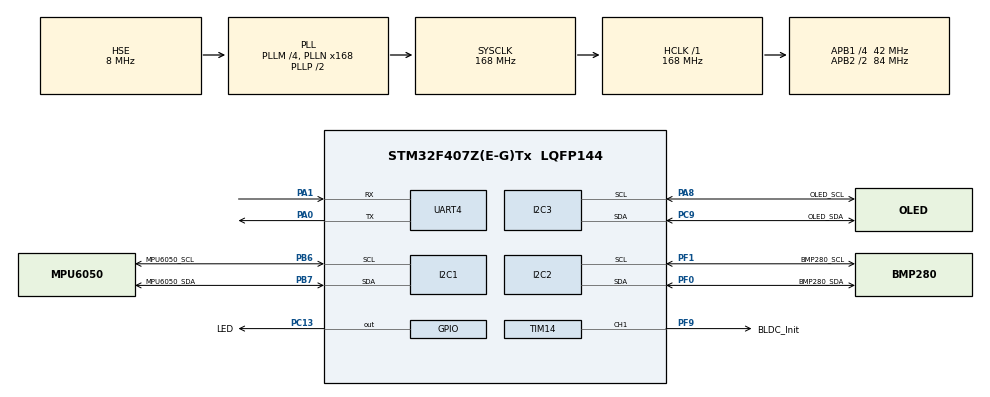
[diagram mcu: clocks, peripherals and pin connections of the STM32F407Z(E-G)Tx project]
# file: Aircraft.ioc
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I2C1.I2C_Mode=I2C_Fast
I2C2.I2C_Mode=I2C_Fast
I2C3.DutyCycle=I2C_DUTYCYCLE_2
I2C3.I2C_Mode=I2C_Fast
Mcu.Family=STM32F4
Mcu.Name=STM32F407Z(E-G)Tx
Mcu.Package=LQFP144
NVIC.PriorityGroup=NVIC_PRIORITYGROUP_4
PA0-WKUP.Mode=Asynchronous
PA0-WKUP.Signal=UART4_TX
PA1.Mode=Asynchronous
PA1.Signal=UART4_RX
PA13.Mode=Serial_Wire
PA13.Signal=SYS_JTMS-SWDIO
PA14.Mode=Serial_Wire
PA14.Signal=SYS_JTCK-SWCLK
PA8.GPIO_Label=OLED_SCL
PA8.Mode=I2C
PA8.Signal=I2C3_SCL
PB6.GPIO_Label=MPU6050_SCL
PB6.Mode=I2C
PB6.Signal=I2C1_SCL
PB7.GPIO_Label=MPU6050_SDA
PB7.Mode=I2C
PB7.Signal=I2C1_SDA
PC13-ANTI_TAMP.GPIO_Label=LED
PC13-ANTI_TAMP.PinState=GPIO_PIN_SET
PC13-ANTI_TAMP.Signal=GPIO_Output
PC14-OSC32_IN.Mode=LSE-External-Oscillator
PC14-OSC32_IN.Signal=RCC_OSC32_IN
PC15-OSC32_OUT.Mode=LSE-External-Oscillator
PC15-OSC32_OUT.Signal=RCC_OSC32_OUT
PC9.GPIO_Label=OLED_SDA
PC9.Mode=I2C
PC9.Signal=I2C3_SDA
PF0.GPIO_Label=BMP280_SDA
PF0.GPIO_Speed=GPIO_SPEED_FREQ_VERY_HIGH
PF0.Mode=I2C
PF0.Signal=I2C2_SDA
PF1.GPIO_Label=BMP280_SCL
PF1.GPIO_Speed=GPIO_SPEED_FREQ_VERY_HIGH
PF1.Mode=I2C
PF1.Signal=I2C2_SCL
PF9.GPIO_Label=BLDC_Init
PF9.GPIO_Speed=GPIO_SPEED_FREQ_LOW
PF9.Signal=S_TIM14_CH1
PH0-OSC_IN.Mode=HSE-External-Oscillator
PH0-OSC_IN.Signal=RCC_OSC_IN
PH1-OSC_OUT.Mode=HSE-External-Oscillator
PH1-OSC_OUT.Signal=RCC_OSC_OUT
ProjectManager.HeapSize=0x200
ProjectManager.StackSize=0x400
ProjectManager.TargetToolchain=MDK-ARM V5.32
RCC.48MHZClocksFreq_Value=84000000
RCC.AHBFreq_Value=168000000
RCC.APB1CLKDivider=RCC_HCLK_DIV4
RCC.APB1Freq_Value=42000000
RCC.APB1TimFreq_Value=84000000
RCC.APB2CLKDivider=RCC_HCLK_DIV2
RCC.APB2Freq_Value=84000000
RCC.APB2TimFreq_Value=168000000
RCC.CortexFreq_Value=168000000
RCC.HCLKFreq_Value=168000000
RCC.HSE_VALUE=8000000
RCC.HSI_VALUE=16000000
RCC.PLLM=4
RCC.PLLN=168
RCC.PLLSourceVirtual=RCC_PLLSOURCE_HSE
RCC.SYSCLKFreq_VALUE=168000000
RCC.SYSCLKSource=RCC_SYSCLKSOURCE_PLLCLK
RCC.VCOOutputFreq_Value=336000000
SH.S_TIM14_CH1.0=TIM14_CH1,PWM Generation1 CH1
TIM14.Channel=TIM_CHANNEL_1
TIM14.Period=20000-1
TIM14.Prescaler=168-1
UART4.VirtualMode=Asynchronous
VP_TIM14_VS_ClockSourceINT.Mode=Enable_Timer
board=custom

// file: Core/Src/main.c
/* USER CODE BEGIN Header */
/**
  ******************************************************************************
  * @file           : main.c
  * @brief          : Main program body
  ******************************************************************************
  * @attention
  *
  * Copyright (c) 2024 STMicroelectronics.
  * All rights reserved.
  *
  * This software is licensed under terms that can be found in the LICENSE file
  * in the root directory of this software component.
  * If no LICENSE file comes with this software, it is provided AS-IS.
  *
  ******************************************************************************
  */
/* USER CODE END Header */
#include "main.h"
#include "i2c.h"
#include "tim.h"
#include "usart.h"
#include "gpio.h"

/* USER CODE BEGIN Includes */
#include "bldc.h"
#include "stdio.h"
#include "mpu6050.h"
#include "inv_mpu.h"
#include "inv_mpu_dmp_motion_driver.h"
#include "bmp280.h"
#include "oled.h"

/* USER CODE END Includes */

void SystemClock_Config(void);

/* USER CODE BEGIN 0 */
float temp, press;
/* USER CODE END 0 */

int main(void)
{
  /* USER CODE BEGIN 1 */
float pitch,roll,yaw;
  /* USER CODE END 1 */

  /* MCU Configuration--------------------------------------------------------*/

  /* Reset of all peripherals, Initializes the Flash interface and the Systick. */
  HAL_Init();

  /* Configure the system clock */
  SystemClock_Config();

  /* Initialize all configured peripherals */
  MX_GPIO_Init();
  MX_UART4_Init();
  MX_TIM14_Init();
  MX_I2C1_Init();
  MX_I2C2_Init();
  MX_I2C3_Init();
  /* USER CODE BEGIN 2 */
	HAL_TIM_PWM_Start(&htim14,TIM_CHANNEL_1);
	Motor_Init(&htim14,TIM_CHANNEL_1);
	MPU6050_DMP_Init();
  BMP280_Init();
	OLED_Init();
	OLED_Display_On();
	HAL_GPIO_WritePin(GPIOC,GPIO_PIN_13,GPIO_PIN_RESET);
  /* USER CODE END 2 */

  /* Infinite loop */
  /* USER CODE BEGIN WHILE */
  while (1)
  {
    MPU6050_DMP_GetData(&pitch,&roll,&yaw);
    BMP280_Measure_Cmd();
		BMP280_ReadData();
    temp = BMP280_Calculate_Temp();
		press = BMP280_Calculate_Press();
    printf("pitch = %.2f, roll = %.2f, yaw = %.2f\r\n", pitch,roll,yaw);
		printf("T: %.2f  P: %f \r\n", temp, press);
		OLED_ShowChar_EN(1,1,'A',1);
		HAL_Delay(100);
		OLED_Clear();

    /* USER CODE END WHILE */

  }
}

void SystemClock_Config(void)
{
  RCC_OscInitTypeDef RCC_OscInitStruct = {0};
  RCC_ClkInitTypeDef RCC_ClkInitStruct = {0};

  /** Configure the main internal regulator output voltage
  */
  __HAL_RCC_PWR_CLK_ENABLE();
  __HAL_PWR_VOLTAGESCALING_CONFIG(PWR_REGULATOR_VOLTAGE_SCALE1);

  /** Initializes the RCC Oscillators according to the specified parameters
  * in the RCC_OscInitTypeDef structure.
  */
  RCC_OscInitStruct.OscillatorType = RCC_OSCILLATORTYPE_HSE;
  RCC_OscInitStruct.HSEState = RCC_HSE_ON;
  RCC_OscInitStruct.PLL.PLLState = RCC_PLL_ON;
  RCC_OscInitStruct.PLL.PLLSource = RCC_PLLSOURCE_HSE;
  RCC_OscInitStruct.PLL.PLLM = 4;
  RCC_OscInitStruct.PLL.PLLN = 168;
  RCC_OscInitStruct.PLL.PLLP = RCC_PLLP_DIV2;
  RCC_OscInitStruct.PLL.PLLQ = 4;
  if (HAL_RCC_OscConfig(&RCC_OscInitStruct) != HAL_OK)
  {
    Error_Handler();
  }

  /** Initializes the CPU, AHB and APB buses clocks
  */
  RCC_ClkInitStruct.ClockType = RCC_CLOCKTYPE_HCLK|RCC_CLOCKTYPE_SYSCLK
                              |RCC_CLOCKTYPE_PCLK1|RCC_CLOCKTYPE_PCLK2;
  RCC_ClkInitStruct.SYSCLKSource = RCC_SYSCLKSOURCE_PLLCLK;
  RCC_ClkInitStruct.AHBCLKDivider = RCC_SYSCLK_DIV1;
  RCC_ClkInitStruct.APB1CLKDivider = RCC_HCLK_DIV4;
  RCC_ClkInitStruct.APB2CLKDivider = RCC_HCLK_DIV2;

  if (HAL_RCC_ClockConfig(&RCC_ClkInitStruct, FLASH_LATENCY_5) != HAL_OK)
  {
    Error_Handler();
  }
}

void Error_Handler(void)
{
  __disable_irq();
  while (1)
  {
  }
}
